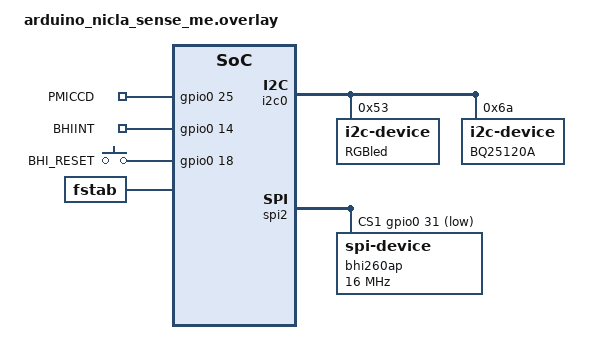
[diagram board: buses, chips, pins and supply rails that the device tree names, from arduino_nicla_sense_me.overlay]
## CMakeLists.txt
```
# SPDX-License-Identifier: Apache-2.0

cmake_minimum_required(VERSION 3.20.0)

find_package(Zephyr REQUIRED HINTS $ENV{ZEPHYR_BASE})
project(nicla_basic)

# includes
include_directories(library)
# include_directories(library/BHY2)

# Source files
# file(GLOB_RECURSE BHY2_C_SRC CONFIGURE_DEPENDS "library/BHY2/**.c" "library/BHY2/**.cpp")
# file(GLOB_RECURSE LIB CONFIGURE_DEPENDS "library/**.c" "library/**.cpp")

target_sources(app PRIVATE src/main.cpp)
# target_sources(app PRIVATE library/BLE/NiclaService.cpp)
# target_sources(app PRIVATE library/RGB/RGBled.cpp)
# target_sources(app PRIVATE library/PMIC/BQ25120A.cpp)
# target_sources(app PRIVATE library/SPIFLASH/MX25R1635F.cpp)
# target_sources(app PRIVATE library/NiclaSystem.cpp)
# BHI260AP 
# target_sources(app PRIVATE library/BHY2/bosch/common/common.cpp)
# target_sources(app PRIVATE library/BHY2/bosch/bhy2_hif.c)
# target_sources(app PRIVATE library/BHY2/bosch/bhy2.c)
# target_sources(app PRIVATE library/BHY2/bosch/bhy2_parse.c)
# target_sources(app PRIVATE library/BHY2/BoschSensortec.cpp)
target_sources(app PRIVATE ${LIB})
```

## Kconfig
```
mainmenu "sentinel"

config APP_WIPE_STORAGE
    bool "Option to clear the flash area before mounting"
    help
        Use this to force an existing file system to be created.

choice
    prompt "Storage backend type used by the application"
    default APP_LITTLEFS_STORAGE_FLASH
    help
       Specify the type of storage backend

config APP_LITTLEFS_STORAGE_FLASH
    bool "Use flash memory backend"

config APP_LITTLEFS_STORAGE_BLK_SDMMC
    bool "Use block device (e.g. SD MMC) backend"
endchoice

config SET_LOG_LEVEL
    int "Set the logging level for the module"
    help
      Use this to set the logging level across the module

source "Kconfig.zephyr"
```

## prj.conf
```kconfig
# Configurations
CONFIG_I2C=y
CONFIG_CPLUSPLUS=y
CONFIG_CBPRINTF_FP_SUPPORT=y

# SPI Flash
CONFIG_SPI=y
CONFIG_SPI_NOR=y
CONFIG_SPI_NOR_FLASH_LAYOUT_PAGE_SIZE=4096

# Flash and SPI
CONFIG_FLASH=y
CONFIG_FLASH_MAP=y
CONFIG_FLASH_PAGE_LAYOUT=y

# Enable Little FS
CONFIG_FILE_SYSTEM=y
CONFIG_FILE_SYSTEM_LITTLEFS=y
CONFIG_APP_WIPE_STORAGE=n

# Memory Configuration
CONFIG_MAIN_STACK_SIZE=2048
CONFIG_HEAP_MEM_POOL_SIZE=4096
CONFIG_BT_RX_STACK_SIZE=4096

# Bluetooth Configuration
# BLE
CONFIG_BT=y
# Peripheral Role Support
CONFIG_BT_PERIPHERAL=y
# Peripheral Name
CONFIG_BT_DEVICE_NAME="DAQSentinel03"
CONFIG_BT_CTLR_DATA_LENGTH_MAX=251
CONFIG_BT_BUF_ACL_TX_SIZE=251
CONFIG_BT_BUF_ACL_RX_SIZE=251
# This is the maximum MTU size with Nordic Softdevice controller
CONFIG_BT_L2CAP_TX_MTU=247

CONFIG_BT_PERIPHERAL_PREF_MIN_INT=6
CONFIG_BT_PERIPHERAL_PREF_MAX_INT=6
CONFIG_BT_PERIPHERAL_PREF_LATENCY=0
CONFIG_BT_PERIPHERAL_PREF_TIMEOUT=400
CONFIG_BT_GAP_AUTO_UPDATE_CONN_PARAMS=y

# Setting LOG levels
CONFIG_LOG=y
CONFIG_SET_LOG_LEVEL=4

# # Enable Zephyr application to be booted by MCUboot
CONFIG_BOOTLOADER_MCUBOOT=y
CONFIG_PM_EXTERNAL_FLASH_MCUBOOT_SECONDARY=y
CONFIG_MCUBOOT_UTIL_LOG_LEVEL_DBG=y
CONFIG_MCUBOOT_IMG_MANAGER=y
CONFIG_IMG_MANAGER=y

# Power Management
CONFIG_PM=y
CONFIG_PM_DEVICE=y
```

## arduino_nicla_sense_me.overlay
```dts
// To get started, press Ctrl+Space (or Option+Esc) to bring up the completion menu and view the available nodes.

// You can also use the buttons in the sidebar to perform actions on nodes.
// Actions currently available include:

// * Enabling / disabling the node
// * Adding the bus to a bus
// * Removing the node
// * Connecting ADC channels

// For more help, browse the DeviceTree documentation at https://docs.zephyrproject.org/latest/guides/dts/index.html
// You can also visit the nRF DeviceTree extension documentation at https://nrfconnect.github.io/vscode-nrf-connect/devicetree/nrfdevicetree.html

// Remove the default storage partition
/delete-node/ &storage_partition;

// I2C Configuration
&i2c0 {
    
    // RGB LED
    rgbled: rgbled@53{
        compatible = "i2c-device";
        reg = < 0x53 >;
        label = "RGBled";
    };

    // PMIC
    bq25120a: bq25120a@6a{
        compatible = "i2c-device";
        reg = < 0x6A >;
        label = "BQ25120A";
    };

};

// PMIC Control
/ {
    gpio_keys {
        pmiccd: pmiccd{
            label = "PMICCD";
            gpios = <&gpio0 25 GPIO_ACTIVE_HIGH>;
            status = "okay";
        };
    };
};

/*
littlefs
*/
// Mounting Info
/ {
	fstab {
		compatible = "zephyr,fstab";
		lfs1: lfs1 {
			compatible = "zephyr,fstab,littlefs";
			mount-point = "/lfs1";
			partition = <&logging_partition>;
            automount;
			read-size = <16>;
			prog-size = <16>;
			cache-size = <64>;
			lookahead-size = <32>;
			block-cycles = <512>;
		};
	};
};

// Specify external flash
/ {
	chosen {
		nordic,pm-ext-flash = &mx25r1635f;
	};
};

// Partition for external flash
&logging_partition {
    label = "storage";
    reg = < 0x00000000 0x00190200 >;
};

&mx25r1635f {
    partitions {
        mcb_sc: partition@190200 {
            label = "mcuboot_sc";
            reg = < 0x190200 0x6FE00 >;
        };
    };
};



/*
SPI for Bosch Sensortech
*/
// Adding an SPI device
&spi2 {
    // 26 - Flash; 31 - Bosch
    cs-gpios = <&gpio0 26 GPIO_ACTIVE_LOW>, 
                <&gpio0 31 GPIO_ACTIVE_LOW>;

    bhi260ap: bhi260ap@1{
        compatible = "spi-device";
        reg = <1>;
        spi-max-frequency = < 16000000 >;
    };
};

// Interrupt control from BHI260AP
/ {
    gpio_keys {
        bhi_int: bhi_int{
            label = "BHIINT";
            gpios = <&gpio0 14 GPIO_ACTIVE_HIGH>;
            status = "okay";
        };

        bhi_reset: bhi_reset{
            label = "BHI_RESET";
            gpios = < &gpio0 18 GPIO_ACTIVE_HIGH>;
        };
    };
};
```

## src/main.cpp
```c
#include <zephyr/logging/log.h>
#include <zephyr/kernel.h>
#include <zephyr/pm/pm.h>
#include <zephyr/pm/device.h>
#include <zephyr/pm/policy.h>

#include "NiclaSystem.hpp"
#include "BHY2.h"
#include "BLESensorData.h"


LOG_MODULE_REGISTER(main, CONFIG_SET_LOG_LEVEL);


/*
Sensor Configuration
*/
#define STACK_SIZE              1024
#define PRIORITY                7
#define CHECK_INTERVAL          10
#define BLE_DATA_LEN            202


// Sensor Variables
SensorXYZ                       _accl_sensor(SENSOR_ID_ACC_PASS);
SensorXYZ                       _gyro_sensor(SENSOR_ID_GYRO_PASS);
SensorOrientation               _orin_sensor(SENSOR_ID_ORI);
SensorQuaternion                _rota_sensor(SENSOR_ID_RV);
SensorBSEC                      _bsec_sensor(SENSOR_ID_BSEC);

// Data update status
bool update_state = false;
uint8_t active_sensor = 0;
uint8_t data_preamble = 2;
uint8_t byte_counter = data_preamble;
uint8_t buf[BLE_DATA_LEN];

// Work Queue initialization
K_THREAD_STACK_DEFINE(sensor_work_q_stack_area, STACK_SIZE);
struct k_work_q sensor_work_q;
struct work_q_data {
    struct k_work work;
    uint8_t buf[BLE_DATA_LEN];
} sensor_work_q_data;
struct k_work_sync sensor_work_q_sync;

struct pm_state_info pms {PM_STATE_SOFT_OFF, 0, 0};


/*
BLE Setup for Sensor Data Transfer
*/
/** @brief  Set the active sensor */
void select_active_sensor(uint8_t sensor_id, uint16_t sampling_rate) {
    active_sensor = sensor_id;
    LOG_DBG("Sensor Selectiom: Received Sensor ID %u, with the sampling rate of %u", sensor_id, sampling_rate);

    switch (sensor_id)
    {
    case 0:
        // Disable all sensors
        _accl_sensor.begin(0, 0);
        _gyro_sensor.begin(0, 0);
        _orin_sensor.begin(0, 0);
        _rota_sensor.begin(0, 0);
        _bsec_sensor.begin(0, 0);

        // Reset some variables
        byte_counter = data_preamble;

        // Clear the work queue
        k_work_cancel(&sensor_work_q_data.work);

        // Clear the buffer
        sensortec.flushSensorData(SENSOR_ID_ACC_PASS);
        sensortec.flushSensorData(SENSOR_ID_GYRO_PASS);
        sensortec.flushSensorData(SENSOR_ID_ORI);
        sensortec.flushSensorData(SENSOR_ID_RV);
        sensortec.flushSensorData(SENSOR_ID_BSEC);

        // Go to deep sleep
        // pm_state_force(0u, &pms);
        break;

    case SENSOR_ID_ACC_PASS:
        _accl_sensor.begin(sampling_rate, 0);
        // 8g
        _accl_sensor.setRange(8);
        break;

    case SENSOR_ID_GYRO_PASS:
        _gyro_sensor.begin(sampling_rate, 0);
        // 250 degree/s
        _gyro_sensor.setRange(250);
        break;

    case SENSOR_ID_ORI:
        _orin_sensor.begin(sampling_rate, 0);
        break;

    case SENSOR_ID_RV:
        _rota_sensor.begin(sampling_rate, 0);
        break;

    case SENSOR_ID_BSEC:
        _bsec_sensor.begin(sampling_rate, 0);
        break;

    case 255:
        // All the IMU sensors
        _accl_sensor.begin(sampling_rate, 0);
        _gyro_sensor.begin(sampling_rate, 0);
        _orin_sensor.begin(sampling_rate, 0);
        break;
    
    default:
        break;
    }
}
// Set the callback struct
struct ns_sd_cb sensor_data_callbacks = {
    .sensor_select_cb = select_active_sensor
};
/** @brief  Sending the data over BLE */
void send_sensor_data(struct k_work *item) {
    // Get the pointer to the data structure
    struct work_q_data *data = 
        CONTAINER_OF(item, struct work_q_data, work);
    
    // Send over BLE
    sensor_send_data_notify(data->buf, sizeof(data->buf));
}


/** @brief  Process the data according to the active sensor. */
void process_sensor_data(void) {

    switch (active_sensor)
    {
    case 0:
        break;
    
    case SENSOR_ID_ACC_PASS:
    case SENSOR_ID_GYRO_PASS:
        {
            // Copy the data to buffer
            DataXYZ _sData;
            if(active_sensor == 1) {
                _sData = _accl_sensor.getData();
            } else {
                _sData = _gyro_sensor.getData();
            }

            bytecpy(&buf[byte_counter], &_sData, sizeof(_sData));
            byte_counter += sizeof(_sData);

            // Check if we need to send data
            if((byte_counter + sizeof(_sData) - data_preamble) > sizeof(buf) - data_preamble) {
                // Update length as first variable
                buf[0] = byte_counter - data_preamble;
                buf[1] = active_sensor;

                // Send data over BLE
                // Complete pending work
                bool work_state = k_work_flush(&sensor_work_q_data.work, &sensor_work_q_sync);

                //  Copy the new data 
                bytecpy(sensor_work_q_data.buf, buf, sizeof(buf));
                byte_counter = data_preamble;

                // Add the item to work queue
                k_work_submit_to_queue(&sensor_work_q, &sensor_work_q_data.work);
            }
        }
        break;

    case SENSOR_ID_ORI:
        {
            DataOrientation _sData;
            _sData = _orin_sensor.getData();

            bytecpy(&buf[byte_counter], &_sData, sizeof(_sData));
            byte_counter += sizeof(_sData);

            // Check if we need to send data
            if((byte_counter + sizeof(_sData) - data_preamble) > sizeof(buf) - data_preamble) {
                // Update length as first variable
                buf[0] = byte_counter - data_preamble;
                buf[1] = active_sensor;

                // Send data over BLE
                // Complete pending work
                bool work_state = k_work_flush(&sensor_work_q_data.work, &sensor_work_q_sync);

                //  Copy the new data 
                bytecpy(sensor_work_q_data.buf, buf, sizeof(buf));
                byte_counter = data_preamble;

                // Add the item to work queue
                k_work_submit_to_queue(&sensor_work_q, &sensor_work_q_data.work);
            }

        }
        break;

    case SENSOR_ID_RV:
        {
            DataQuaternion _sData;
            _sData = _rota_sensor.getData();

            bytecpy(&buf[byte_counter], &_sData, sizeof(_sData));
            byte_counter += sizeof(_sData);

            // Check if we need to send data
            if((byte_counter + sizeof(_sData) - data_preamble) > sizeof(buf) - data_preamble) {
                // Update length as first variable
                buf[0] = byte_counter - data_preamble;
                buf[1] = active_sensor;

                // Send data over BLE
                // Complete pending work
                bool work_state = k_work_flush(&sensor_work_q_data.work, &sensor_work_q_sync);

                //  Copy the new data 
                bytecpy(sensor_work_q_data.buf, buf, sizeof(buf));
                byte_counter = data_preamble;

                // Add the item to work queue
                k_work_submit_to_queue(&sensor_work_q, &sensor_work_q_data.work);
            }


        }
        break;

    case SENSOR_ID_BSEC:
        {
            DataBSEC _sData;
            _sData = _bsec_sensor.getData();

            bytecpy(&buf[byte_counter], &_sData, sizeof(_sData));
            byte_counter += sizeof(_sData);

            // Check if we need to send data
            if((byte_counter + sizeof(_sData) - data_preamble) > sizeof(buf) - data_preamble) {
                // Update length as first variable
                buf[0] = byte_counter - data_preamble;
                buf[1] = active_sensor;

                // Send data over BLE
                // Complete pending work
                bool work_state = k_work_flush(&sensor_work_q_data.work, &sensor_work_q_sync);

                //  Copy the new data 
                bytecpy(sensor_work_q_data.buf, buf, sizeof(buf));
                byte_counter = data_preamble;

                // Add the item to work queue
                k_work_submit_to_queue(&sensor_work_q, &sensor_work_q_data.work);
            }
        }
        break;

    case 255:
        {   
            // Get the data items
            DataXYZ _accData;
            DataXYZ _gyroData;
            DataOrientation _orinData;
            // Update the buffer
            _accData = _accl_sensor.getData();
            bytecpy(&buf[byte_counter], &_accData, sizeof(_accData));
            byte_counter += sizeof(_accData);
            _gyroData = _gyro_sensor.getData();
            bytecpy(&buf[byte_counter], &_gyroData, sizeof(_gyroData));
            byte_counter += sizeof(_gyroData);
            _orinData = _orin_sensor.getData();
            bytecpy(&buf[byte_counter], &_orinData, sizeof(_orinData));
            byte_counter += sizeof(_orinData);

            // Check if we need to send data
            uint16_t data_size = sizeof(_accData) + sizeof(_gyroData) + sizeof(_orinData);
            if((byte_counter + data_size - data_preamble) > sizeof(buf) - data_preamble) {
                // Update length as first variable
                buf[0] = byte_counter - data_preamble;
                buf[1] = active_sensor;

                // Send data over BLE
                // Complete pending work
                bool work_state = k_work_flush(&sensor_work_q_data.work, &sensor_work_q_sync);

                //  Copy the new data 
                bytecpy(sensor_work_q_data.buf, buf, sizeof(buf));
                byte_counter = data_preamble;

                // Add the item to work queue
                k_work_submit_to_queue(&sensor_work_q, &sensor_work_q_data.work);
            }
        }
        break;
    
    default:
        break;
    }

}


int main(void) {

    LOG_INF("Initializing the main loop\n");

    /*
    Initialize Nicla System
    */
    nicla::leds.begin();
    nicla::pmic.enableCharge(100);
    bool ret = nicla::pmic.enable3V3LDO();
    if(!ret) {
        LOG_ERR("3V3LDO failed!\n");
    }

    // Initialize BLE Callback struct
    sensor_data_callback_init(&sensor_data_callbacks);

    // Initialize BHI260
    bhy2.begin();
    
    // Work queue setup
    k_work_queue_init(&sensor_work_q);
    k_work_queue_start(&sensor_work_q, sensor_work_q_stack_area, 
                K_THREAD_STACK_SIZEOF(sensor_work_q_stack_area), PRIORITY, NULL);
    k_work_init(&sensor_work_q_data.work, send_sensor_data);

    while (1) {

        // Keep updating the sensor data
        update_state = bhy2.update(1);
        
        // Process the sensor data
        if(update_state) {
            process_sensor_data();
        }
        
    }

}
```
